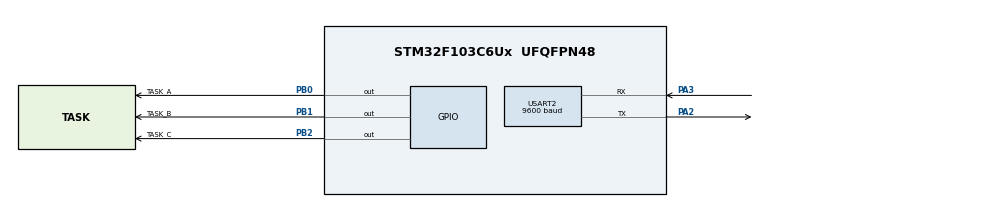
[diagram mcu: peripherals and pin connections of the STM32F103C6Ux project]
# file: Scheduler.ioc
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Mcu.Family=STM32F1
Mcu.Name=STM32F103C6Ux
Mcu.Package=UFQFPN48
NVIC.PriorityGroup=NVIC_PRIORITYGROUP_4
NVIC.TIM2_IRQn=true\:0\:0\:false\:false\:true\:true\:true
NVIC.USART2_IRQn=true\:0\:0\:false\:false\:true\:true\:true
PA2.Mode=Asynchronous
PA2.Signal=USART2_TX
PA3.Mode=Asynchronous
PA3.Signal=USART2_RX
PB0.GPIO_Label=TASK_A
PB0.Signal=GPIO_Output
PB1.GPIO_Label=TASK_B
PB1.Signal=GPIO_Output
PB2.GPIO_Label=TASK_C
PB2.Signal=GPIO_Output
ProjectManager.HeapSize=0x200
ProjectManager.StackSize=0x400
ProjectManager.TargetToolchain=STM32CubeIDE
RCC.APB1Freq_Value=8000000
RCC.APB2Freq_Value=8000000
TIM2.Period=9
TIM2.Prescaler=7999
USART2.BaudRate=9600
USART2.VirtualMode=VM_ASYNC
VP_SYS_VS_ND.Mode=No_Debug
VP_TIM2_VS_ClockSourceINT.Mode=Internal
board=custom

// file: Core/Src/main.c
/* USER CODE BEGIN Header */
/**
  ******************************************************************************
  * @file           : main.c
  * @brief          : Main program body
  ******************************************************************************
  * @attention
  *
  * <h2><center>&copy; Copyright (c) 2022 STMicroelectronics.
  * All rights reserved.</center></h2>
  *
  * This software component is licensed by ST under BSD 3-Clause license,
  * the "License"; You may not use this file except in compliance with the
  * License. You may obtain a copy of the License at:
  *                        opensource.org/licenses/BSD-3-Clause
  *
  ******************************************************************************
  */
/* USER CODE END Header */
#include "main.h"

/* USER CODE BEGIN Includes */
#include "Sched.h"
/* USER CODE END Includes */

TIM_HandleTypeDef htim2;

UART_HandleTypeDef huart2;

void SystemClock_Config(void);
static void MX_GPIO_Init(void);
static void MX_TIM2_Init(void);
static void MX_USART2_UART_Init(void);

/* USER CODE BEGIN 0 */
uint8_t temp = 0;

void HAL_UART_RxCpltCallback ( UART_HandleTypeDef * huart ) {
	if(huart->Instance == USART2){
			HAL_UART_Transmit(&huart2, &temp, 1, 50);
			HAL_UART_Receive_IT(&huart2, &temp, 1);
	}
}
void Task_A_Run(void)
{
  HAL_GPIO_TogglePin(GPIOB, TASK_A_Pin);
}
void Task_B_Run(void)
{
  HAL_GPIO_TogglePin(GPIOB, TASK_B_Pin);
}
void Task_C_Run(void)
{
  HAL_GPIO_TogglePin(GPIOB, TASK_C_Pin);
}
/* USER CODE END 0 */

int main(void)
{

  /* MCU Configuration--------------------------------------------------------*/

  /* Reset of all peripherals, Initializes the Flash interface and the Systick. */
  HAL_Init();

  /* Configure the system clock */
  SystemClock_Config();

  /* Initialize all configured peripherals */
  MX_GPIO_Init();
  MX_TIM2_Init();
  MX_USART2_UART_Init();
  /* USER CODE BEGIN 2 */
  HAL_TIM_Base_Start_IT(&htim2);
  HAL_UART_Receive_IT(&huart2, &temp, 1);
  SCH_Init();
  SCH_Add_Task(Task_A_Run, 100, 100);
  SCH_Add_Task(Task_B_Run, 200, 100);
  SCH_Add_Task(Task_C_Run, 300, 0);
  //print_Array();
  //print_Task();
  /* USER CODE END 2 */

  /* Infinite loop */
  /* USER CODE BEGIN WHILE */
  while (1)
  {
	  SCH_Dispatch_Tasks();
    /* USER CODE END WHILE */

  }
}

void SystemClock_Config(void)
{
  RCC_OscInitTypeDef RCC_OscInitStruct = {0};
  RCC_ClkInitTypeDef RCC_ClkInitStruct = {0};

  /** Initializes the RCC Oscillators according to the specified parameters
  * in the RCC_OscInitTypeDef structure.
  */
  RCC_OscInitStruct.OscillatorType = RCC_OSCILLATORTYPE_HSI;
  RCC_OscInitStruct.HSIState = RCC_HSI_ON;
  RCC_OscInitStruct.HSICalibrationValue = RCC_HSICALIBRATION_DEFAULT;
  RCC_OscInitStruct.PLL.PLLState = RCC_PLL_NONE;
  if (HAL_RCC_OscConfig(&RCC_OscInitStruct) != HAL_OK)
  {
    Error_Handler();
  }
  /** Initializes the CPU, AHB and APB buses clocks
  */
  RCC_ClkInitStruct.ClockType = RCC_CLOCKTYPE_HCLK|RCC_CLOCKTYPE_SYSCLK
                              |RCC_CLOCKTYPE_PCLK1|RCC_CLOCKTYPE_PCLK2;
  RCC_ClkInitStruct.SYSCLKSource = RCC_SYSCLKSOURCE_HSI;
  RCC_ClkInitStruct.AHBCLKDivider = RCC_SYSCLK_DIV1;
  RCC_ClkInitStruct.APB1CLKDivider = RCC_HCLK_DIV1;
  RCC_ClkInitStruct.APB2CLKDivider = RCC_HCLK_DIV1;

  if (HAL_RCC_ClockConfig(&RCC_ClkInitStruct, FLASH_LATENCY_0) != HAL_OK)
  {
    Error_Handler();
  }
}

static void MX_TIM2_Init(void)
{

  TIM_ClockConfigTypeDef sClockSourceConfig = {0};
  TIM_MasterConfigTypeDef sMasterConfig = {0};

  htim2.Instance = TIM2;
  htim2.Init.Prescaler = 7999;
  htim2.Init.CounterMode = TIM_COUNTERMODE_UP;
  htim2.Init.Period = 9;
  htim2.Init.ClockDivision = TIM_CLOCKDIVISION_DIV1;
  htim2.Init.AutoReloadPreload = TIM_AUTORELOAD_PRELOAD_DISABLE;
  if (HAL_TIM_Base_Init(&htim2) != HAL_OK)
  {
    Error_Handler();
  }
  sClockSourceConfig.ClockSource = TIM_CLOCKSOURCE_INTERNAL;
  if (HAL_TIM_ConfigClockSource(&htim2, &sClockSourceConfig) != HAL_OK)
  {
    Error_Handler();
  }
  sMasterConfig.MasterOutputTrigger = TIM_TRGO_RESET;
  sMasterConfig.MasterSlaveMode = TIM_MASTERSLAVEMODE_DISABLE;
  if (HAL_TIMEx_MasterConfigSynchronization(&htim2, &sMasterConfig) != HAL_OK)
  {
    Error_Handler();
  }

}

static void MX_USART2_UART_Init(void)
{

  huart2.Instance = USART2;
  huart2.Init.BaudRate = 9600;
  huart2.Init.WordLength = UART_WORDLENGTH_8B;
  huart2.Init.StopBits = UART_STOPBITS_1;
  huart2.Init.Parity = UART_PARITY_NONE;
  huart2.Init.Mode = UART_MODE_TX_RX;
  huart2.Init.HwFlowCtl = UART_HWCONTROL_NONE;
  huart2.Init.OverSampling = UART_OVERSAMPLING_16;
  if (HAL_UART_Init(&huart2) != HAL_OK)
  {
    Error_Handler();
  }

}

static void MX_GPIO_Init(void)
{
  GPIO_InitTypeDef GPIO_InitStruct = {0};

  /* GPIO Ports Clock Enable */
  __HAL_RCC_GPIOA_CLK_ENABLE();
  __HAL_RCC_GPIOB_CLK_ENABLE();

  /*Configure GPIO pin Output Level */
  HAL_GPIO_WritePin(GPIOB, TASK_A_Pin|TASK_B_Pin|TASK_C_Pin, GPIO_PIN_RESET);

  /*Configure GPIO pins : TASK_A_Pin TASK_B_Pin TASK_C_Pin */
  GPIO_InitStruct.Pin = TASK_A_Pin|TASK_B_Pin|TASK_C_Pin;
  GPIO_InitStruct.Mode = GPIO_MODE_OUTPUT_PP;
  GPIO_InitStruct.Pull = GPIO_NOPULL;
  GPIO_InitStruct.Speed = GPIO_SPEED_FREQ_LOW;
  HAL_GPIO_Init(GPIOB, &GPIO_InitStruct);

}

/* USER CODE BEGIN 4 */
void HAL_TIM_PeriodElapsedCallback(TIM_HandleTypeDef *htim)
{
	SCH_Update();
}
/* USER CODE END 4 */

void Error_Handler(void)
{
  __disable_irq();
  while (1)
  {
  }
}

/************************ (C) COPYRIGHT STMicroelectronics *****END OF FILE****/
